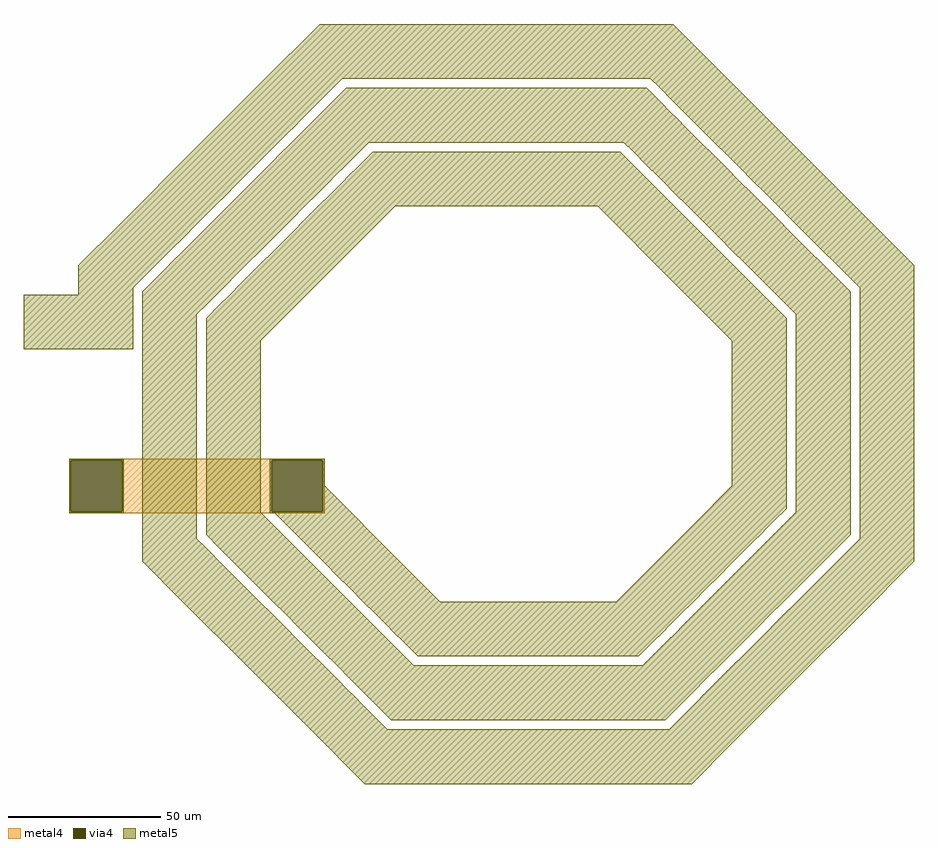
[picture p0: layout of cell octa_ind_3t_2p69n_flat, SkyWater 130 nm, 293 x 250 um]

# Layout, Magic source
magic
tech sky130B
magscale 1 2
<< metal4 >>
rect -50200 -23712 -33400 -23600
rect -50200 -27088 -50088 -23712
rect -46712 -27088 -36888 -23712
rect -33512 -27088 -33400 -23712
rect -50200 -27200 -33400 -27088
<< via4 >>
rect -50088 -27088 -46712 -23712
rect -36888 -27088 -33512 -23712
<< metal5 >>
tri -37600 1125 -33725 5000 se
rect -33725 1400 -10475 5000
tri -10475 1400 -6875 5000 sw
rect -33725 1125 -32834 1400
tri -38937 -212 -37600 1125 se
rect -37600 800 -32834 1125
tri -32834 800 -32234 1400 nw
tri -11966 800 -11366 1400 ne
rect -11366 800 -6875 1400
rect -37600 -49 -33683 800
tri -33683 -49 -32834 800 nw
tri -32834 -49 -31985 800 se
rect -31985 -49 -12215 800
tri -12215 -49 -11366 800 sw
tri -11366 -49 -10517 800 ne
rect -10517 -49 -6875 800
rect -37600 -212 -33846 -49
tri -33846 -212 -33683 -49 nw
tri -32997 -212 -32834 -49 se
rect -32834 -212 -11366 -49
tri -41800 -3075 -38937 -212 se
rect -38937 -1061 -34695 -212
tri -34695 -1061 -33846 -212 nw
tri -33846 -1061 -32997 -212 se
rect -32997 -898 -11366 -212
tri -11366 -898 -10517 -49 sw
tri -10517 -898 -9668 -49 ne
rect -9668 -898 -6875 -49
rect -32997 -1061 -10517 -898
rect -38937 -1910 -35544 -1061
tri -35544 -1910 -34695 -1061 nw
tri -34695 -1910 -33846 -1061 se
rect -33846 -1102 -10517 -1061
tri -10517 -1102 -10313 -898 sw
tri -9668 -1102 -9464 -898 ne
rect -9464 -1102 -6875 -898
rect -33846 -1910 -10313 -1102
rect -38937 -1951 -35585 -1910
tri -35585 -1951 -35544 -1910 nw
tri -34736 -1951 -34695 -1910 se
rect -34695 -1951 -10313 -1910
tri -10313 -1951 -9464 -1102 sw
tri -9464 -1951 -8615 -1102 ne
rect -8615 -1951 -6875 -1102
rect -38937 -2800 -36434 -1951
tri -36434 -2800 -35585 -1951 nw
tri -35585 -2800 -34736 -1951 se
rect -34736 -2800 -9464 -1951
tri -9464 -2800 -8615 -1951 sw
tri -8615 -2800 -7766 -1951 ne
rect -7766 -2800 -6875 -1951
tri -6875 -2800 -2675 1400 sw
rect -38937 -3075 -37283 -2800
tri -42691 -3966 -41800 -3075 se
rect -41800 -3649 -37283 -3075
tri -37283 -3649 -36434 -2800 nw
tri -36434 -3649 -35585 -2800 se
rect -35585 -3400 -31094 -2800
tri -31094 -3400 -30494 -2800 nw
tri -13706 -3400 -13106 -2800 ne
rect -13106 -3400 -8615 -2800
rect -35585 -3649 -31942 -3400
rect -41800 -3966 -37600 -3649
tri -37600 -3966 -37283 -3649 nw
tri -36751 -3966 -36434 -3649 se
rect -36434 -3966 -31942 -3649
tri -46000 -7275 -42691 -3966 se
rect -42691 -4815 -38449 -3966
tri -38449 -4815 -37600 -3966 nw
tri -37600 -4815 -36751 -3966 se
rect -36751 -4248 -31942 -3966
tri -31942 -4248 -31094 -3400 nw
tri -31094 -4248 -30246 -3400 se
rect -30246 -4248 -13954 -3400
tri -13954 -4248 -13106 -3400 sw
tri -13106 -4248 -12258 -3400 ne
rect -12258 -3649 -8615 -3400
tri -8615 -3649 -7766 -2800 sw
tri -7766 -3649 -6917 -2800 ne
rect -6917 -3649 -2675 -2800
rect -12258 -4248 -7766 -3649
rect -36751 -4815 -32790 -4248
rect -42691 -5664 -39298 -4815
tri -39298 -5664 -38449 -4815 nw
tri -38449 -5664 -37600 -4815 se
rect -37600 -5096 -32790 -4815
tri -32790 -5096 -31942 -4248 nw
tri -31942 -5096 -31094 -4248 se
rect -31094 -5096 -13106 -4248
tri -13106 -5096 -12258 -4248 sw
tri -12258 -5096 -11410 -4248 ne
rect -11410 -4498 -7766 -4248
tri -7766 -4498 -6917 -3649 sw
tri -6917 -4498 -6068 -3649 ne
rect -6068 -4498 -2675 -3649
rect -11410 -5096 -6917 -4498
rect -37600 -5304 -32998 -5096
tri -32998 -5304 -32790 -5096 nw
tri -32150 -5304 -31942 -5096 se
rect -31942 -5304 -12258 -5096
tri -12258 -5304 -12050 -5096 sw
tri -11410 -5304 -11202 -5096 ne
rect -11202 -5302 -6917 -5096
tri -6917 -5302 -6113 -4498 sw
tri -6068 -5302 -5264 -4498 ne
rect -5264 -5302 -2675 -4498
rect -11202 -5304 -6113 -5302
rect -37600 -5664 -33846 -5304
rect -42691 -6152 -39786 -5664
tri -39786 -6152 -39298 -5664 nw
tri -38937 -6152 -38449 -5664 se
rect -38449 -6152 -33846 -5664
tri -33846 -6152 -32998 -5304 nw
tri -32998 -6152 -32150 -5304 se
rect -32150 -6152 -12050 -5304
tri -12050 -6152 -11202 -5304 sw
tri -11202 -6152 -10354 -5304 ne
rect -10354 -6151 -6113 -5304
tri -6113 -6151 -5264 -5302 sw
tri -5264 -6151 -4415 -5302 ne
rect -4415 -6151 -2675 -5302
rect -10354 -6152 -5264 -6151
rect -42691 -7001 -40635 -6152
tri -40635 -7001 -39786 -6152 nw
tri -39786 -7001 -38937 -6152 se
rect -38937 -7000 -34694 -6152
tri -34694 -7000 -33846 -6152 nw
tri -33846 -7000 -32998 -6152 se
rect -32998 -7000 -11202 -6152
tri -11202 -7000 -10354 -6152 sw
tri -10354 -7000 -9506 -6152 ne
rect -9506 -7000 -5264 -6152
tri -5264 -7000 -4415 -6151 sw
tri -4415 -7000 -3566 -6151 ne
rect -3566 -7000 -2675 -6151
tri -2675 -7000 1525 -2800 sw
rect -38937 -7001 -35542 -7000
rect -42691 -7275 -40951 -7001
tri -46891 -8166 -46000 -7275 se
rect -46000 -7317 -40951 -7275
tri -40951 -7317 -40635 -7001 nw
tri -40102 -7317 -39786 -7001 se
rect -39786 -7317 -35542 -7001
rect -46000 -8166 -41800 -7317
tri -41800 -8166 -40951 -7317 nw
tri -40951 -8166 -40102 -7317 se
rect -40102 -7848 -35542 -7317
tri -35542 -7848 -34694 -7000 nw
tri -34694 -7848 -33846 -7000 se
rect -40102 -8166 -36390 -7848
tri -49600 -10875 -46891 -8166 se
rect -46891 -9015 -42649 -8166
tri -42649 -9015 -41800 -8166 nw
tri -41800 -9015 -40951 -8166 se
rect -40951 -8696 -36390 -8166
tri -36390 -8696 -35542 -7848 nw
tri -35542 -8696 -34694 -7848 se
rect -34694 -8696 -33846 -7848
rect -40951 -9015 -36752 -8696
rect -46891 -9864 -43498 -9015
tri -43498 -9864 -42649 -9015 nw
tri -42649 -9864 -41800 -9015 se
rect -41800 -9058 -36752 -9015
tri -36752 -9058 -36390 -8696 nw
tri -35904 -9058 -35542 -8696 se
rect -35542 -9058 -33846 -8696
rect -41800 -9864 -37600 -9058
rect -46891 -9906 -43540 -9864
tri -43540 -9906 -43498 -9864 nw
tri -42691 -9906 -42649 -9864 se
rect -42649 -9906 -37600 -9864
tri -37600 -9906 -36752 -9058 nw
tri -36752 -9906 -35904 -9058 se
rect -35904 -9906 -33846 -9058
rect -46891 -10755 -44389 -9906
tri -44389 -10755 -43540 -9906 nw
tri -43540 -10755 -42691 -9906 se
rect -42691 -10754 -38448 -9906
tri -38448 -10754 -37600 -9906 nw
tri -37600 -10754 -36752 -9906 se
rect -36752 -10754 -33846 -9906
rect -42691 -10755 -39296 -10754
rect -46891 -10875 -44551 -10755
rect -49600 -10917 -44551 -10875
tri -44551 -10917 -44389 -10755 nw
tri -43702 -10917 -43540 -10755 se
rect -43540 -10917 -39296 -10755
rect -49600 -11766 -45400 -10917
tri -45400 -11766 -44551 -10917 nw
tri -44551 -11766 -43702 -10917 se
rect -43702 -11602 -39296 -10917
tri -39296 -11602 -38448 -10754 nw
tri -38448 -11602 -37600 -10754 se
rect -37600 -11602 -33846 -10754
rect -43702 -11766 -39785 -11602
rect -49600 -12800 -46000 -11766
tri -46000 -12366 -45400 -11766 nw
rect -53200 -16400 -46000 -12800
tri -45400 -12615 -44551 -11766 se
rect -44551 -12091 -39785 -11766
tri -39785 -12091 -39296 -11602 nw
tri -38937 -12091 -38448 -11602 se
rect -38448 -12091 -33846 -11602
tri -33846 -12091 -28755 -7000 nw
tri -15445 -12091 -10354 -7000 ne
tri -10354 -7848 -9506 -7000 sw
tri -9506 -7848 -8658 -7000 ne
rect -8658 -7848 -4415 -7000
rect -10354 -8696 -9506 -7848
tri -9506 -8696 -8658 -7848 sw
tri -8658 -8696 -7810 -7848 ne
rect -7810 -7849 -4415 -7848
tri -4415 -7849 -3566 -7000 sw
tri -3566 -7849 -2717 -7000 ne
rect -2717 -7849 1525 -7000
rect -7810 -8696 -3566 -7849
rect -10354 -9058 -8658 -8696
tri -8658 -9058 -8296 -8696 sw
tri -7810 -9058 -7448 -8696 ne
rect -7448 -8698 -3566 -8696
tri -3566 -8698 -2717 -7849 sw
tri -2717 -8698 -1868 -7849 ne
rect -1868 -8698 1525 -7849
rect -7448 -9056 -2717 -8698
tri -2717 -9056 -2359 -8698 sw
tri -1868 -9056 -1510 -8698 ne
rect -1510 -9056 1525 -8698
rect -7448 -9058 -2359 -9056
rect -10354 -9906 -8296 -9058
tri -8296 -9906 -7448 -9058 sw
tri -7448 -9906 -6600 -9058 ne
rect -6600 -9905 -2359 -9058
tri -2359 -9905 -1510 -9056 sw
tri -1510 -9905 -661 -9056 ne
rect -661 -9905 1525 -9056
rect -6600 -9906 -1510 -9905
rect -10354 -10754 -7448 -9906
tri -7448 -10754 -6600 -9906 sw
tri -6600 -10754 -5752 -9906 ne
rect -5752 -10754 -1510 -9906
tri -1510 -10754 -661 -9905 sw
tri -661 -10754 188 -9905 ne
rect 188 -10754 1525 -9905
rect -10354 -11602 -6600 -10754
tri -6600 -11602 -5752 -10754 sw
tri -5752 -11602 -4904 -10754 ne
rect -4904 -11602 -661 -10754
rect -10354 -12091 -5752 -11602
rect -44551 -12615 -40494 -12091
rect -45400 -12800 -40494 -12615
tri -40494 -12800 -39785 -12091 nw
tri -39646 -12800 -38937 -12091 se
rect -38937 -12800 -37600 -12091
rect -45400 -13506 -41200 -12800
tri -41200 -13506 -40494 -12800 nw
tri -40352 -13506 -39646 -12800 se
rect -39646 -13506 -37600 -12800
rect -50200 -23712 -46600 -23600
rect -50200 -27088 -50088 -23712
rect -46712 -27088 -46600 -23712
rect -50200 -27200 -46600 -27088
rect -45400 -29464 -41800 -13506
tri -41800 -14106 -41200 -13506 nw
tri -41200 -14354 -40352 -13506 se
rect -40352 -14354 -37600 -13506
rect -41200 -27724 -37600 -14354
tri -37600 -15845 -33846 -12091 nw
tri -10354 -15845 -6600 -12091 ne
rect -6600 -12450 -5752 -12091
tri -5752 -12450 -4904 -11602 sw
tri -4904 -12450 -4056 -11602 ne
rect -4056 -11603 -661 -11602
tri -661 -11603 188 -10754 sw
tri 188 -11603 1037 -10754 ne
rect 1037 -10875 1525 -10754
tri 1525 -10875 5400 -7000 sw
rect 1037 -11603 5400 -10875
rect -4056 -12366 188 -11603
tri 188 -12366 951 -11603 sw
tri 1037 -12366 1800 -11603 ne
rect -4056 -12450 951 -12366
rect -6600 -12658 -4904 -12450
tri -4904 -12658 -4696 -12450 sw
tri -4056 -12658 -3848 -12450 ne
rect -3848 -12615 951 -12450
tri 951 -12615 1200 -12366 sw
rect -3848 -12658 1200 -12615
rect -6600 -13506 -4696 -12658
tri -4696 -13506 -3848 -12658 sw
tri -3848 -13506 -3000 -12658 ne
rect -3000 -13506 1200 -12658
rect -6600 -14354 -3848 -13506
tri -3848 -14354 -3000 -13506 sw
tri -3000 -14106 -2400 -13506 ne
rect -37000 -23712 -33400 -23600
rect -37000 -27088 -36888 -23712
rect -33512 -27088 -33400 -23712
tri -37600 -27724 -37000 -27124 sw
rect -37000 -27200 -33400 -27088
tri -36676 -27724 -36152 -27200 ne
rect -36152 -27724 -33400 -27200
rect -41200 -28572 -37000 -27724
tri -37000 -28572 -36152 -27724 sw
tri -36152 -28572 -35304 -27724 ne
rect -35304 -28572 -33400 -27724
rect -41200 -28616 -36152 -28572
tri -41800 -29464 -41200 -28864 sw
tri -41200 -29464 -40352 -28616 ne
rect -40352 -28780 -36152 -28616
tri -36152 -28780 -35944 -28572 sw
tri -35304 -28780 -35096 -28572 ne
rect -35096 -28780 -33400 -28572
rect -40352 -29464 -35944 -28780
rect -45400 -29628 -41200 -29464
tri -41200 -29628 -41036 -29464 sw
tri -40352 -29628 -40188 -29464 ne
rect -40188 -29628 -35944 -29464
tri -35944 -29628 -35096 -28780 sw
tri -35096 -29628 -34248 -28780 ne
rect -34248 -29628 -33400 -28780
rect -45400 -30355 -41036 -29628
tri -45400 -33000 -42755 -30355 ne
rect -42755 -30476 -41036 -30355
tri -41036 -30476 -40188 -29628 sw
tri -40188 -30476 -39340 -29628 ne
rect -39340 -30476 -35096 -29628
tri -35096 -30476 -34248 -29628 sw
tri -34248 -30476 -33400 -29628 ne
tri -33400 -30476 -28309 -25385 sw
tri -9124 -27909 -6600 -25385 se
rect -6600 -26876 -3000 -14354
rect -6600 -27724 -3848 -26876
tri -3848 -27724 -3000 -26876 nw
tri -3000 -27724 -2400 -27124 se
rect -2400 -27724 1200 -13506
rect -6600 -27909 -4033 -27724
tri -4033 -27909 -3848 -27724 nw
tri -3185 -27909 -3000 -27724 se
rect -3000 -27909 1200 -27724
tri -11691 -30476 -9124 -27909 se
rect -9124 -28757 -4881 -27909
tri -4881 -28757 -4033 -27909 nw
tri -4033 -28757 -3185 -27909 se
rect -3185 -28616 1200 -27909
rect -3185 -28757 352 -28616
rect -9124 -28780 -4904 -28757
tri -4904 -28780 -4881 -28757 nw
tri -4056 -28780 -4033 -28757 se
rect -4033 -28780 352 -28757
rect -9124 -29628 -5752 -28780
tri -5752 -29628 -4904 -28780 nw
tri -4904 -29628 -4056 -28780 se
rect -4056 -29464 352 -28780
tri 352 -29464 1200 -28616 nw
tri 1200 -29464 1800 -28864 se
rect 1800 -29464 5400 -11603
rect -4056 -29628 -496 -29464
rect -9124 -30476 -6600 -29628
tri -6600 -30476 -5752 -29628 nw
tri -5752 -30476 -4904 -29628 se
rect -4904 -30312 -496 -29628
tri -496 -30312 352 -29464 nw
tri 352 -30312 1200 -29464 se
rect 1200 -30312 5400 -29464
rect -4904 -30476 -660 -30312
tri -660 -30476 -496 -30312 nw
tri 188 -30476 352 -30312 se
rect 352 -30355 5400 -30312
rect 352 -30476 1800 -30355
rect -42755 -31324 -40188 -30476
tri -40188 -31324 -39340 -30476 sw
tri -39340 -31324 -38492 -30476 ne
rect -38492 -31324 -34248 -30476
tri -34248 -31324 -33400 -30476 sw
tri -33400 -31324 -32552 -30476 ne
rect -32552 -31324 -28309 -30476
rect -42755 -32152 -39340 -31324
tri -39340 -32152 -38512 -31324 sw
tri -38492 -32152 -37664 -31324 ne
rect -37664 -32152 -33400 -31324
tri -33400 -32152 -32572 -31324 sw
tri -32552 -32152 -31724 -31324 ne
rect -31724 -32152 -28309 -31324
rect -42755 -33000 -38512 -32152
tri -38512 -33000 -37664 -32152 sw
tri -37664 -33000 -36816 -32152 ne
rect -36816 -33000 -32572 -32152
tri -32572 -33000 -31724 -32152 sw
tri -31724 -33000 -30876 -32152 ne
rect -30876 -33000 -28309 -32152
tri -28309 -33000 -25785 -30476 sw
tri -14215 -33000 -11691 -30476 se
rect -11691 -31324 -7448 -30476
tri -7448 -31324 -6600 -30476 nw
tri -6600 -31324 -5752 -30476 se
rect -5752 -31324 -1508 -30476
tri -1508 -31324 -660 -30476 nw
tri -660 -31324 188 -30476 se
rect 188 -31324 1800 -30476
rect -11691 -32152 -8276 -31324
tri -8276 -32152 -7448 -31324 nw
tri -7428 -32152 -6600 -31324 se
rect -6600 -31368 -1552 -31324
tri -1552 -31368 -1508 -31324 nw
tri -704 -31368 -660 -31324 se
rect -660 -31368 1800 -31324
rect -6600 -32152 -2400 -31368
rect -11691 -33000 -9124 -32152
tri -9124 -33000 -8276 -32152 nw
tri -8276 -33000 -7428 -32152 se
rect -7428 -32216 -2400 -32152
tri -2400 -32216 -1552 -31368 nw
tri -1552 -32216 -704 -31368 se
rect -704 -32216 1800 -31368
rect -7428 -33000 -3248 -32216
tri -42755 -37200 -38555 -33000 ne
rect -38555 -33848 -37664 -33000
tri -37664 -33848 -36816 -33000 sw
tri -36816 -33848 -35968 -33000 ne
rect -35968 -33848 -31724 -33000
tri -31724 -33848 -30876 -33000 sw
tri -30876 -33848 -30028 -33000 ne
rect -30028 -33848 -9972 -33000
tri -9972 -33848 -9124 -33000 nw
tri -9124 -33848 -8276 -33000 se
rect -8276 -33064 -3248 -33000
tri -3248 -33064 -2400 -32216 nw
tri -2400 -33064 -1552 -32216 se
rect -1552 -33064 1800 -32216
rect -8276 -33848 -4032 -33064
tri -4032 -33848 -3248 -33064 nw
tri -3184 -33848 -2400 -33064 se
rect -2400 -33848 1800 -33064
rect -38555 -34696 -36816 -33848
tri -36816 -34696 -35968 -33848 sw
tri -35968 -34696 -35120 -33848 ne
rect -35120 -34696 -30876 -33848
tri -30876 -34696 -30028 -33848 sw
tri -30028 -34696 -29180 -33848 ne
rect -29180 -34696 -10820 -33848
tri -10820 -34696 -9972 -33848 nw
tri -9972 -34696 -9124 -33848 se
rect -9124 -34696 -4880 -33848
tri -4880 -34696 -4032 -33848 nw
tri -4032 -34696 -3184 -33848 se
rect -3184 -33955 1800 -33848
tri 1800 -33955 5400 -30355 nw
rect -3184 -34696 -2400 -33955
rect -38555 -35504 -35968 -34696
tri -35968 -35504 -35160 -34696 sw
tri -35120 -35504 -34312 -34696 ne
rect -34312 -34904 -30028 -34696
tri -30028 -34904 -29820 -34696 sw
tri -29180 -34904 -28972 -34696 ne
rect -28972 -34904 -11028 -34696
tri -11028 -34904 -10820 -34696 nw
tri -10180 -34904 -9972 -34696 se
rect -9972 -34720 -4904 -34696
tri -4904 -34720 -4880 -34696 nw
tri -4056 -34720 -4032 -34696 se
rect -4032 -34720 -2400 -34696
rect -9972 -34904 -5752 -34720
rect -34312 -35504 -29820 -34904
rect -38555 -36352 -35160 -35504
tri -35160 -36352 -34312 -35504 sw
tri -34312 -36352 -33464 -35504 ne
rect -33464 -35752 -29820 -35504
tri -29820 -35752 -28972 -34904 sw
tri -28972 -35752 -28124 -34904 ne
rect -28124 -35752 -11876 -34904
tri -11876 -35752 -11028 -34904 nw
tri -11028 -35752 -10180 -34904 se
rect -10180 -35568 -5752 -34904
tri -5752 -35568 -4904 -34720 nw
tri -4904 -35568 -4056 -34720 se
rect -4056 -35568 -2400 -34720
rect -10180 -35752 -6600 -35568
rect -33464 -36352 -28972 -35752
rect -38555 -37200 -34312 -36352
tri -34312 -37200 -33464 -36352 sw
tri -33464 -37200 -32616 -36352 ne
rect -32616 -36600 -28972 -36352
tri -28972 -36600 -28124 -35752 sw
tri -28124 -36600 -27276 -35752 ne
rect -27276 -36600 -12724 -35752
tri -12724 -36600 -11876 -35752 nw
tri -11876 -36600 -11028 -35752 se
rect -11028 -36416 -6600 -35752
tri -6600 -36416 -5752 -35568 nw
tri -5752 -36416 -4904 -35568 se
rect -4904 -36416 -2400 -35568
rect -11028 -36600 -7448 -36416
rect -32616 -37200 -28124 -36600
tri -28124 -37200 -27524 -36600 sw
tri -12476 -37200 -11876 -36600 se
rect -11876 -37200 -7448 -36600
tri -38555 -41400 -34355 -37200 ne
rect -34355 -38048 -33464 -37200
tri -33464 -38048 -32616 -37200 sw
tri -32616 -38048 -31768 -37200 ne
rect -31768 -37264 -7448 -37200
tri -7448 -37264 -6600 -36416 nw
tri -6600 -37264 -5752 -36416 se
rect -5752 -37264 -2400 -36416
rect -31768 -38048 -8276 -37264
rect -34355 -38896 -32616 -38048
tri -32616 -38896 -31768 -38048 sw
tri -31768 -38896 -30920 -38048 ne
rect -30920 -38092 -8276 -38048
tri -8276 -38092 -7448 -37264 nw
tri -7428 -38092 -6600 -37264 se
rect -6600 -38092 -2400 -37264
rect -30920 -38896 -9124 -38092
rect -34355 -39104 -31768 -38896
tri -31768 -39104 -31560 -38896 sw
tri -30920 -39104 -30712 -38896 ne
rect -30712 -38940 -9124 -38896
tri -9124 -38940 -8276 -38092 nw
tri -8276 -38940 -7428 -38092 se
rect -7428 -38155 -2400 -38092
tri -2400 -38155 1800 -33955 nw
rect -7428 -38940 -6600 -38155
rect -30712 -39104 -9972 -38940
rect -34355 -39952 -31560 -39104
tri -31560 -39952 -30712 -39104 sw
tri -30712 -39952 -29864 -39104 ne
rect -29864 -39788 -9972 -39104
tri -9972 -39788 -9124 -38940 nw
tri -9124 -39788 -8276 -38940 se
rect -8276 -39788 -6600 -38940
rect -29864 -39952 -10136 -39788
tri -10136 -39952 -9972 -39788 nw
tri -9288 -39952 -9124 -39788 se
rect -9124 -39952 -6600 -39788
rect -34355 -40800 -30712 -39952
tri -30712 -40800 -29864 -39952 sw
tri -29864 -40800 -29016 -39952 ne
rect -29016 -40800 -10984 -39952
tri -10984 -40800 -10136 -39952 nw
tri -10136 -40800 -9288 -39952 se
rect -9288 -40800 -6600 -39952
rect -34355 -41400 -29864 -40800
tri -29864 -41400 -29264 -40800 sw
tri -10736 -41400 -10136 -40800 se
rect -10136 -41400 -6600 -40800
tri -34355 -45000 -30755 -41400 ne
rect -30755 -42355 -6600 -41400
tri -6600 -42355 -2400 -38155 nw
rect -30755 -45000 -9245 -42355
tri -9245 -45000 -6600 -42355 nw
<< end >>
